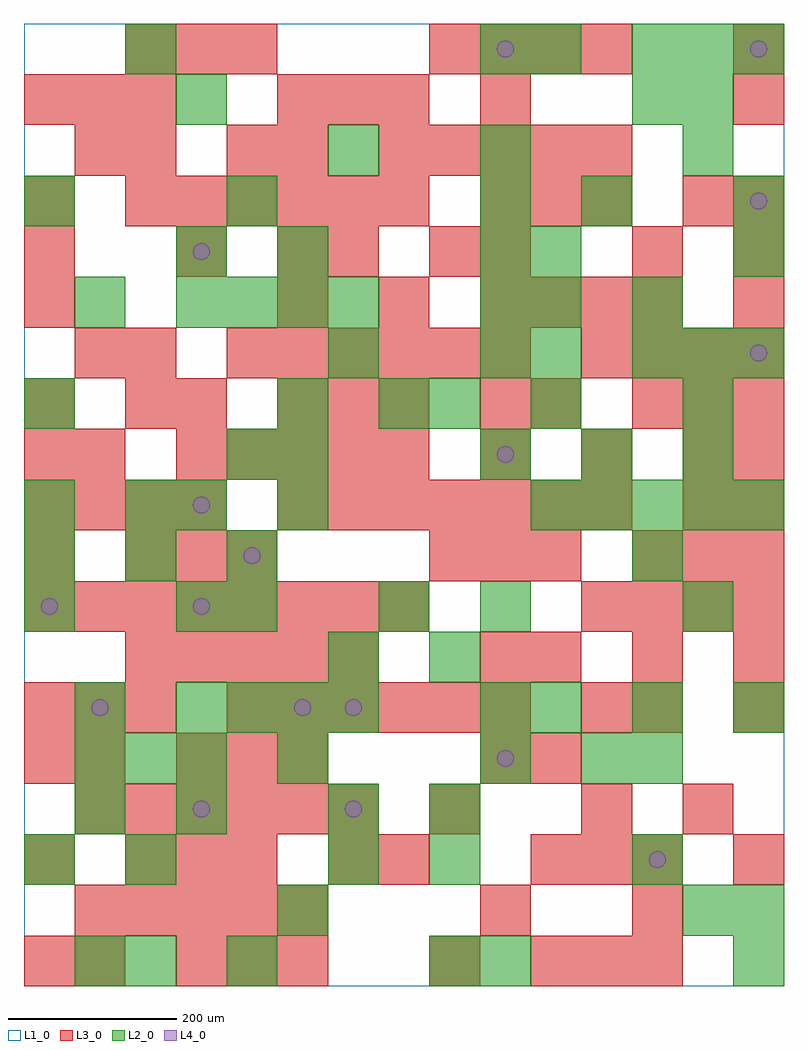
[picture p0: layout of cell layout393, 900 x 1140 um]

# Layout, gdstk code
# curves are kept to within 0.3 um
import gdstk
lib = gdstk.Library(unit=1e-6, precision=1e-09)
def R(c, l, rs):  # rectangles x0, y0, x1, y1
    for r in rs: c.add(gdstk.rectangle(r[:2], r[2:], *l))
def A(c, l, x, y, w, h, nx, ny, dx, dy):  # array of equal rectangles
    R(c, l, [(x+i*dx, y+j*dy, x+i*dx+w, y+j*dy+h) for i in range(nx) for j in range(ny)])
def P(c, l, *ps):  # polygons
    for p in ps: c.add(gdstk.Polygon(p, *l))
L1_0 = (1, 0)
L2_0 = (2, 0)
L3_0 = (3, 0)
L4_0 = (4, 0)

layout393 = lib.new_cell('layout393')
R(layout393, L1_0, [(0,0,900,1140)])
A(layout393, L2_0, 60, 240, 60, 60, 3, 1, 60, 0)
A(layout393, L2_0, 180, 300, 60, 60, 4, 2, 60, 480)
A(layout393, L2_0, 600, 300, 60, 60, 3, 1, 120, 0)
A(layout393, L2_0, 0, 420, 60, 60, 1, 3, 0, 120)
A(layout393, L2_0, 0, 480, 60, 60, 3, 1, 120, 0)
A(layout393, L2_0, 300, 540, 60, 60, 1, 3, 0, 60)
A(layout393, L2_0, 600, 540, 60, 60, 5, 1, 60, 0)
A(layout393, L2_0, 540, 600, 60, 60, 3, 1, 120, 0)
A(layout393, L2_0, 600, 660, 60, 60, 1, 4, 0, 60)
A(layout393, L2_0, 540, 720, 60, 60, 1, 5, 0, 60)
A(layout393, L2_0, 720, 720, 60, 60, 3, 2, 60, 360)
R(layout393, L2_0, [(60,0,120,60), (120,0,180,60), (240,0,300,60), (480,0,540,60), (540,0,600,60), (840,0,900,60), (300,60,360,120), (780,60,840,120), (840,60,900,120), (0,120,60,180), (120,120,180,180), (360,120,420,180), (480,120,540,180), (720,120,780,180), (60,180,120,240), (180,180,240,240), (360,180,420,240), (480,180,540,240), (300,240,360,300), (540,240,600,300), (660,240,720,300), (720,240,780,300), (60,300,120,360), (540,300,600,360), (360,360,420,420), (480,360,540,420), (180,420,240,480), (240,420,300,480), (420,420,480,480), (540,420,600,480), (780,420,840,480), (720,480,780,540), (120,540,180,600), (180,540,240,600), (240,600,300,660), (420,660,480,720), (480,660,540,720), (780,660,840,720), (360,720,420,780), (60,780,120,840), (720,780,780,840), (180,840,240,900), (300,840,360,900), (840,840,900,900), (0,900,60,960), (240,900,300,960), (660,900,720,960), (840,900,900,960), (360,960,420,1020), (780,960,840,1020), (180,1020,240,1080), (720,1020,780,1080), (780,1020,840,1080), (120,1080,180,1140), (540,1080,600,1140), (600,1080,660,1140)])
A(layout393, L3_0, 0, 0, 60, 60, 1, 3, 0, 120)
A(layout393, L3_0, 180, 0, 60, 60, 3, 2, 60, 240)
A(layout393, L3_0, 600, 0, 60, 60, 3, 2, 60, 120)
A(layout393, L3_0, 60, 60, 60, 60, 5, 1, 60, 0)
A(layout393, L3_0, 120, 120, 60, 60, 3, 2, 60, 360)
A(layout393, L3_0, 60, 180, 60, 60, 6, 1, 60, 0)
A(layout393, L3_0, 780, 180, 60, 60, 1, 3, 0, 360)
A(layout393, L3_0, 0, 300, 60, 60, 3, 2, 60, 720)
A(layout393, L3_0, 240, 300, 60, 60, 6, 2, 60, 420)
A(layout393, L3_0, 120, 360, 60, 60, 5, 1, 60, 0)
A(layout393, L3_0, 600, 360, 60, 60, 3, 1, 120, 0)
A(layout393, L3_0, 0, 420, 60, 60, 8, 1, 60, 0)
A(layout393, L3_0, 660, 420, 60, 60, 4, 2, 60, 300)
A(layout393, L3_0, 480, 480, 60, 60, 3, 1, 60, 0)
A(layout393, L3_0, 720, 480, 60, 60, 3, 2, 60, 180)
A(layout393, L3_0, 0, 540, 60, 60, 4, 1, 60, 0)
A(layout393, L3_0, 300, 540, 60, 60, 7, 1, 60, 0)
A(layout393, L3_0, 180, 600, 60, 60, 5, 1, 60, 0)
A(layout393, L3_0, 540, 600, 60, 60, 3, 1, 120, 0)
A(layout393, L3_0, 300, 660, 60, 60, 3, 2, 60, 360)
A(layout393, L3_0, 540, 660, 60, 60, 1, 3, 0, 180)
A(layout393, L3_0, 0, 780, 60, 60, 1, 3, 0, 60)
A(layout393, L3_0, 300, 780, 60, 60, 3, 1, 120, 0)
A(layout393, L3_0, 600, 780, 60, 60, 3, 1, 60, 0)
A(layout393, L3_0, 840, 780, 60, 60, 1, 3, 0, 60)
A(layout393, L3_0, 120, 900, 60, 60, 6, 1, 60, 0)
A(layout393, L3_0, 540, 900, 60, 60, 3, 1, 60, 0)
A(layout393, L3_0, 420, 960, 60, 60, 5, 1, 60, 0)
A(layout393, L3_0, 120, 1080, 60, 60, 3, 1, 60, 0)
A(layout393, L3_0, 480, 1080, 60, 60, 4, 1, 60, 0)
R(layout393, L3_0, [(60,0,120,60), (480,0,540,60), (540,60,600,120), (720,60,780,120), (360,120,420,180), (420,120,480,180), (840,120,900,180), (480,180,540,240), (660,180,720,240), (60,240,120,300), (540,240,600,300), (600,240,660,300), (660,300,720,360), (720,300,780,360), (840,300,900,360), (540,360,600,420), (0,480,60,540), (840,540,900,600), (0,600,60,660), (60,600,120,660), (840,600,900,660), (0,660,60,720), (120,660,180,720), (180,660,240,720), (600,660,660,720), (60,720,120,780), (120,720,180,780), (180,840,240,900), (300,840,360,900), (360,840,420,900), (480,840,540,900), (720,840,780,900), (60,960,120,1020), (120,960,180,1020), (240,960,300,1020), (300,960,360,1020), (840,1020,900,1080), (840,1080,900,1140)])
P(layout393, L4_0, [(40,450),(39.239,453.827),(37.071,457.071),(33.827,459.239),(30,460),(26.173,459.239),(22.929,457.071),(20.761,453.827),(20,450),(20.761,446.173),(22.929,442.929),(26.173,440.761),(30,440),(33.827,440.761),(37.071,442.929),(39.239,446.173)],
  [(100,330),(99.239,333.827),(97.071,337.071),(93.827,339.239),(90,340),(86.173,339.239),(82.929,337.071),(80.761,333.827),(80,330),(80.761,326.173),(82.929,322.929),(86.173,320.761),(90,320),(93.827,320.761),(97.071,322.929),(99.239,326.173)],
  [(220,210),(219.239,213.827),(217.071,217.071),(213.827,219.239),(210,220),(206.173,219.239),(202.929,217.071),(200.761,213.827),(200,210),(200.761,206.173),(202.929,202.929),(206.173,200.761),(210,200),(213.827,200.761),(217.071,202.929),(219.239,206.173)],
  [(220,450),(219.239,453.827),(217.071,457.071),(213.827,459.239),(210,460),(206.173,459.239),(202.929,457.071),(200.761,453.827),(200,450),(200.761,446.173),(202.929,442.929),(206.173,440.761),(210,440),(213.827,440.761),(217.071,442.929),(219.239,446.173)],
  [(220,570),(219.239,573.827),(217.071,577.071),(213.827,579.239),(210,580),(206.173,579.239),(202.929,577.071),(200.761,573.827),(200,570),(200.761,566.173),(202.929,562.929),(206.173,560.761),(210,560),(213.827,560.761),(217.071,562.929),(219.239,566.173)],
  [(220,870),(219.239,873.827),(217.071,877.071),(213.827,879.239),(210,880),(206.173,879.239),(202.929,877.071),(200.761,873.827),(200,870),(200.761,866.173),(202.929,862.929),(206.173,860.761),(210,860),(213.827,860.761),(217.071,862.929),(219.239,866.173)],
  [(280,510),(279.239,513.827),(277.071,517.071),(273.827,519.239),(270,520),(266.173,519.239),(262.929,517.071),(260.761,513.827),(260,510),(260.761,506.173),(262.929,502.929),(266.173,500.761),(270,500),(273.827,500.761),(277.071,502.929),(279.239,506.173)],
  [(340,330),(339.239,333.827),(337.071,337.071),(333.827,339.239),(330,340),(326.173,339.239),(322.929,337.071),(320.761,333.827),(320,330),(320.761,326.173),(322.929,322.929),(326.173,320.761),(330,320),(333.827,320.761),(337.071,322.929),(339.239,326.173)],
  [(400,210),(399.239,213.827),(397.071,217.071),(393.827,219.239),(390,220),(386.173,219.239),(382.929,217.071),(380.761,213.827),(380,210),(380.761,206.173),(382.929,202.929),(386.173,200.761),(390,200),(393.827,200.761),(397.071,202.929),(399.239,206.173)],
  [(400,330),(399.239,333.827),(397.071,337.071),(393.827,339.239),(390,340),(386.173,339.239),(382.929,337.071),(380.761,333.827),(380,330),(380.761,326.173),(382.929,322.929),(386.173,320.761),(390,320),(393.827,320.761),(397.071,322.929),(399.239,326.173)],
  [(580,270),(579.239,273.827),(577.071,277.071),(573.827,279.239),(570,280),(566.173,279.239),(562.929,277.071),(560.761,273.827),(560,270),(560.761,266.173),(562.929,262.929),(566.173,260.761),(570,260),(573.827,260.761),(577.071,262.929),(579.239,266.173)],
  [(580,630),(579.239,633.827),(577.071,637.071),(573.827,639.239),(570,640),(566.173,639.239),(562.929,637.071),(560.761,633.827),(560,630),(560.761,626.173),(562.929,622.929),(566.173,620.761),(570,620),(573.827,620.761),(577.071,622.929),(579.239,626.173)],
  [(580,1110),(579.239,1113.827),(577.071,1117.071),(573.827,1119.239),(570,1120),(566.173,1119.239),(562.929,1117.071),(560.761,1113.827),(560,1110),(560.761,1106.173),(562.929,1102.929),(566.173,1100.761),(570,1100),(573.827,1100.761),(577.071,1102.929),(579.239,1106.173)],
  [(760,150),(759.239,153.827),(757.071,157.071),(753.827,159.239),(750,160),(746.173,159.239),(742.929,157.071),(740.761,153.827),(740,150),(740.761,146.173),(742.929,142.929),(746.173,140.761),(750,140),(753.827,140.761),(757.071,142.929),(759.239,146.173)],
  [(880,750),(879.239,753.827),(877.071,757.071),(873.827,759.239),(870,760),(866.173,759.239),(862.929,757.071),(860.761,753.827),(860,750),(860.761,746.173),(862.929,742.929),(866.173,740.761),(870,740),(873.827,740.761),(877.071,742.929),(879.239,746.173)],
  [(880,930),(879.239,933.827),(877.071,937.071),(873.827,939.239),(870,940),(866.173,939.239),(862.929,937.071),(860.761,933.827),(860,930),(860.761,926.173),(862.929,922.929),(866.173,920.761),(870,920),(873.827,920.761),(877.071,922.929),(879.239,926.173)],
  [(880,1110),(879.239,1113.827),(877.071,1117.071),(873.827,1119.239),(870,1120),(866.173,1119.239),(862.929,1117.071),(860.761,1113.827),(860,1110),(860.761,1106.173),(862.929,1102.929),(866.173,1100.761),(870,1100),(873.827,1100.761),(877.071,1102.929),(879.239,1106.173)])

lib.write_gds('layout393.gds')
